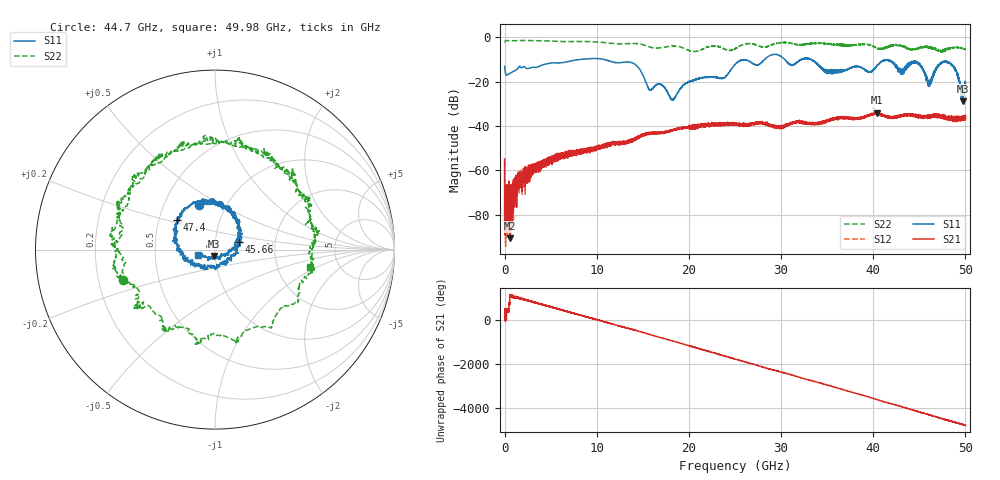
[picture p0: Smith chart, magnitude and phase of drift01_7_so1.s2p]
!Created with skrf (http://scikit-rf.org).
# Hz S RI R 50.0
!freq ReS11 ImS11 ReS21 ImS21 ReS12 ImS12 ReS22 ImS22
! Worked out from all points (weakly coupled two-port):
!   10001 points, 300 kHz to 50 GHz, reference 50 ohm
!   highest |S21| = -33.99 dB at 40.41 GHz (marker M1); lowest = -90.7 dB at 565.3 MHz (marker M2)
!   lowest |S11| = -28.9 dB at 49.72 GHz (marker M3), VSWR 1.07, Z = 49.2 - j3.48 ohm
!   |S11| at or under -10 dB: 10.84 GHz to 25.96 GHz (15.13 GHz wide, 82.2 % of centre); 33.27 GHz to 41.4 GHz (8.137 GHz wide, 21.8 % of centre); 41.57 GHz to end of sweep (the widest 3 of 12)
!   |S22| runs from -6.7 to -1.4 dB; largest |S21 - S12| = 0.0038
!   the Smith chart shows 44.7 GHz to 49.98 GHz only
!   S11 on the Smith chart (normalised r, x): 44.7 GHz: 0.74, +0.40; 45.66 GHz: 1.30, +0.12; 47.4 GHz: 0.62, +0.22; 49.98 GHz: 0.83, -0.05
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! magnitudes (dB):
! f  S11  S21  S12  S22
! 300 kHz  -13.0  -54.9  -56.3  -2.1
! 255.3 MHz  -16.9  -82.5  -75.7  -1.4
! 565.3 MHz  -16.2  -90.7  -78.9  -1.5
! 3.04 GHz  -13.4  -61.0  -59.2  -1.4
! 8.335 GHz  -9.9  -50.7  -50.9  -1.8
! 13.77 GHz  -11.3  -46.5  -46.7  -2.7
! 15.72 GHz  -23.5  -43.1  -43.3  -4.3
! 16.67 GHz  -21.0  -43.2  -43.1  -4.8
! 18.25 GHz  -27.9  -42.0  -41.9  -3.9
! 25 GHz  -12.2  -39.3  -39.1  -5.1
! 33.34 GHz  -10.2  -39.3  -39.2  -2.6
! 35.1 GHz  -15.4  -37.5  -37.9  -2.8
! 40.41 GHz  -12.7  -34.0  -34.6  -4.8
! 41.67 GHz  -10.4  -35.9  -35.8  -4.3
! 44.7 GHz  -11.5  -35.4  -35.2  -5.4
! 45.66 GHz  -17.2  -36.0  -35.6  -4.6
! 46.14 GHz  -21.2  -35.7  -35.3  -4.4
! 47.4 GHz  -11.4  -35.4  -35.7  -5.6
! 48.74 GHz  -13.3  -36.2  -36.6  -4.5
! 49.72 GHz  -28.9  -37.4  -36.4  -5.0
! 49.98 GHz  -20.2  -36.1  -37.1  -5.4
! 50 GHz  -20.8  -36.3  -36.2  -5.4
